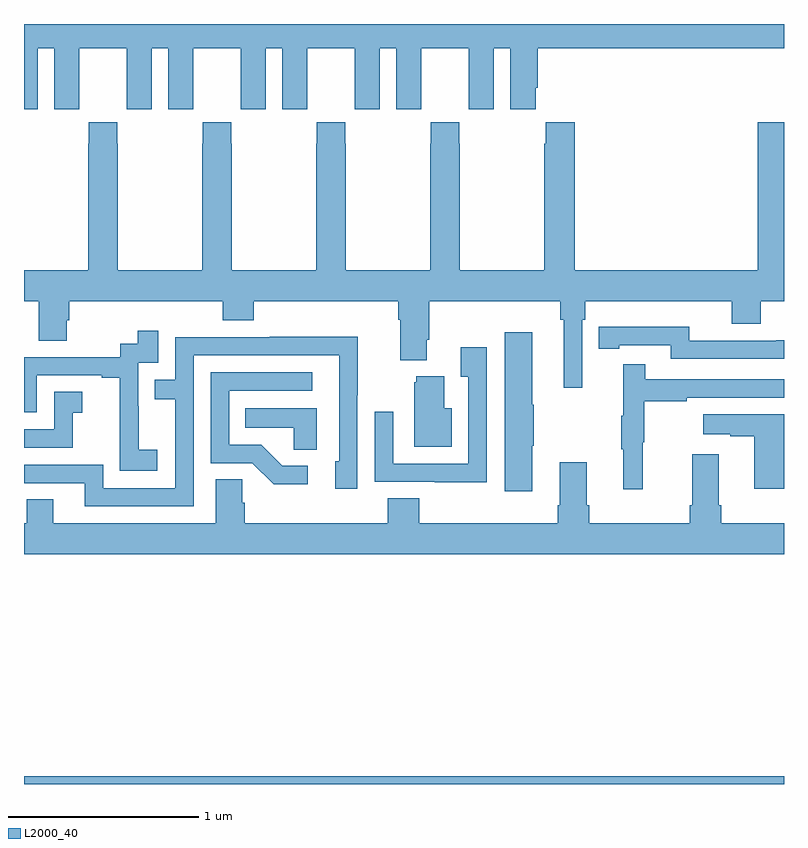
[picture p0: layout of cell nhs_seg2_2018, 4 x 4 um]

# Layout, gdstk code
import gdstk
lib = gdstk.Library(unit=1e-6, precision=1e-09)
def R(c, l, rs):  # rectangles x0, y0, x1, y1
    for r in rs: c.add(gdstk.rectangle(r[:2], r[2:], *l))
def P(c, l, *ps):  # polygons
    for p in ps: c.add(gdstk.Polygon(p, *l))
L2000_40 = (2000, 40)

nhs_seg2_2018 = lib.new_cell('nhs_seg2_2018')
R(nhs_seg2_2018, L2000_40, [(217,607.8,221,607.84)])
P(nhs_seg2_2018, L2000_40, [(217.072,611.672),(217.16,611.672),(217.16,611.352),(217.29,611.352),(217.29,611.464),(217.291,611.464),(217.291,611.672),(217.541,611.672),(217.541,611.464),(217.542,611.464),(217.542,611.352),(217.672,611.352),(217.672,611.672),(217.76,611.672),(217.76,611.352),(217.89,611.352),(217.89,611.464),(217.891,611.464),(217.891,611.672),(218.141,611.672),(218.141,611.464),(218.142,611.464),(218.142,611.352),(218.272,611.352),(218.272,611.672),(218.36,611.672),(218.36,611.352),(218.49,611.352),(218.49,611.464),(218.491,611.464),(218.491,611.672),(218.741,611.672),(218.741,611.464),(218.742,611.464),(218.742,611.352),(218.872,611.352),(218.872,611.672),(218.96,611.672),(218.96,611.352),(219.09,611.352),(219.09,611.464),(219.091,611.464),(219.091,611.672),(219.341,611.672),(219.341,611.464),(219.342,611.464),(219.342,611.352),(219.472,611.352),(219.472,611.672),(219.56,611.672),(219.56,611.352),(219.694,611.352),(219.694,611.464),(219.704,611.464),(219.704,611.672),(221,611.672),(221,611.8),(217,611.8),(217,611.352),(217.072,611.352)],
  [(218.094,611.171),(218.091,611.171),(218.091,611.284),(217.941,611.284),(217.941,611.171),(217.939,611.171),(217.939,610.504),(217.494,610.504),(217.494,611.171),(217.491,611.171),(217.491,611.284),(217.341,611.284),(217.341,611.171),(217.339,611.171),(217.339,610.504),(217,610.504),(217,610.34),(217.078,610.34),(217.078,610.132),(217.225,610.132),(217.225,610.242),(217.238,610.242),(217.238,610.34),(218.045,610.34),(218.045,610.241),(218.21,610.241),(218.21,610.34),(218.969,610.34),(218.969,610.244),(218.981,610.244),(218.981,610.031),(219.121,610.031),(219.121,610.138),(219.134,610.138),(219.134,610.34),(219.823,610.34),(219.823,610.244),(219.842,610.244),(219.842,609.885),(219.939,609.885),(219.939,610.244),(219.953,610.244),(219.953,610.34),(220.724,610.34),(220.724,610.223),(220.877,610.223),(220.877,610.34),(221,610.34),(221,611.284),(220.862,611.284),(220.862,610.504),(219.899,610.504),(219.899,611.284),(219.745,611.284),(219.745,611.171),(219.739,611.171),(219.739,610.504),(219.294,610.504),(219.294,611.171),(219.291,611.171),(219.291,611.284),(219.141,611.284),(219.141,611.171),(219.139,611.171),(219.139,610.504),(218.694,610.504),(218.694,611.171),(218.691,611.171),(218.691,611.284),(218.541,611.284),(218.541,611.171),(218.539,611.171),(218.539,610.504),(218.094,610.504)],
  [(221,610.136),(220.96,610.136),(220.96,610.134),(220.5,610.134),(220.5,610.207),(220.132,610.207),(220.132,610.206),(220.024,610.206),(220.024,610.09),(220.132,610.09),(220.132,610.11),(220.404,610.11),(220.404,610.038),(221,610.038)],
  [(217.702,609.559),(217.604,609.559),(217.604,609.788),(217.602,609.788),(217.602,610.017),(217.707,610.017),(217.707,610.186),(217.599,610.186),(217.599,610.116),(217.506,610.116),(217.506,610.047),(217,610.047),(217,609.756),(217.068,609.756),(217.068,609.951),(217.409,609.951),(217.409,609.939),(217.505,609.939),(217.505,609.655),(217.504,609.655),(217.504,609.449),(217.702,609.449)],
  [(219.676,609.58),(219.684,609.58),(219.684,609.797),(219.676,609.797),(219.676,610.177),(219.53,610.177),(219.53,609.342),(219.676,609.342)],
  [(217.893,610.056),(218.658,610.056),(218.658,609.498),(218.639,609.498),(218.639,609.354),(218.754,609.354),(218.754,609.847),(218.757,609.847),(218.757,610.154),(218.293,610.154),(218.293,610.152),(217.797,610.152),(217.797,609.927),(217.687,609.927),(217.687,609.826),(217.797,609.826),(217.797,609.357),(217.416,609.357),(217.416,609.48),(217,609.48),(217,609.384),(217.319,609.384),(217.319,609.261),(217.893,609.261)],
  [(219.435,610.099),(219.299,610.099),(219.299,609.943),(219.339,609.943),(219.339,609.486),(218.943,609.486),(218.943,609.76),(218.847,609.76),(218.847,609.39),(219.163,609.39),(219.163,609.389),(219.435,609.389)],
  [(220.256,609.6),(220.264,609.6),(220.264,609.814),(220.487,609.814),(220.487,609.834),(221,609.834),(221,609.93),(220.271,609.93),(220.271,610.009),(220.154,610.009),(220.154,609.737),(220.143,609.737),(220.143,609.563),(220.154,609.563),(220.154,609.351),(220.256,609.351)],
  [(218.494,609.474),(218.359,609.474),(218.248,609.585),(218.079,609.585),(218.079,609.87),(218.518,609.87),(218.518,609.966),(217.983,609.966),(217.983,609.489),(218.202,609.489),(218.315,609.377),(218.494,609.377)],
  [(219.25,609.778),(219.211,609.778),(219.211,609.946),(219.065,609.946),(219.065,609.915),(219.053,609.915),(219.053,609.575),(219.25,609.575)],
  [(217.257,609.755),(217.306,609.755),(217.306,609.865),(217.158,609.865),(217.158,609.666),(217,609.666),(217,609.57),(217.257,609.57)],
  [(218.542,609.778),(218.164,609.778),(218.164,609.674),(218.421,609.674),(218.421,609.559),(218.542,609.559)],
  [(221,609.745),(220.575,609.745),(220.575,609.641),(220.718,609.641),(220.718,609.631),(220.844,609.631),(220.844,609.354),(221,609.354)],
  [(221,609.172),(220.67,609.172),(220.67,609.268),(220.657,609.268),(220.657,609.535),(220.517,609.535),(220.517,609.268),(220.505,609.268),(220.505,609.172),(219.974,609.172),(219.974,609.268),(219.961,609.268),(219.961,609.493),(219.821,609.493),(219.821,609.268),(219.809,609.268),(219.809,609.172),(219.08,609.172),(219.08,609.305),(218.915,609.305),(218.915,609.172),(218.162,609.172),(218.162,609.281),(218.148,609.281),(218.148,609.404),(218.009,609.404),(218.009,609.172),(217.153,609.172),(217.153,609.299),(217.014,609.299),(217.014,609.172),(217,609.172),(217,609.008),(221,609.008)])

lib.write_gds('nhs_seg2_2018.gds')
